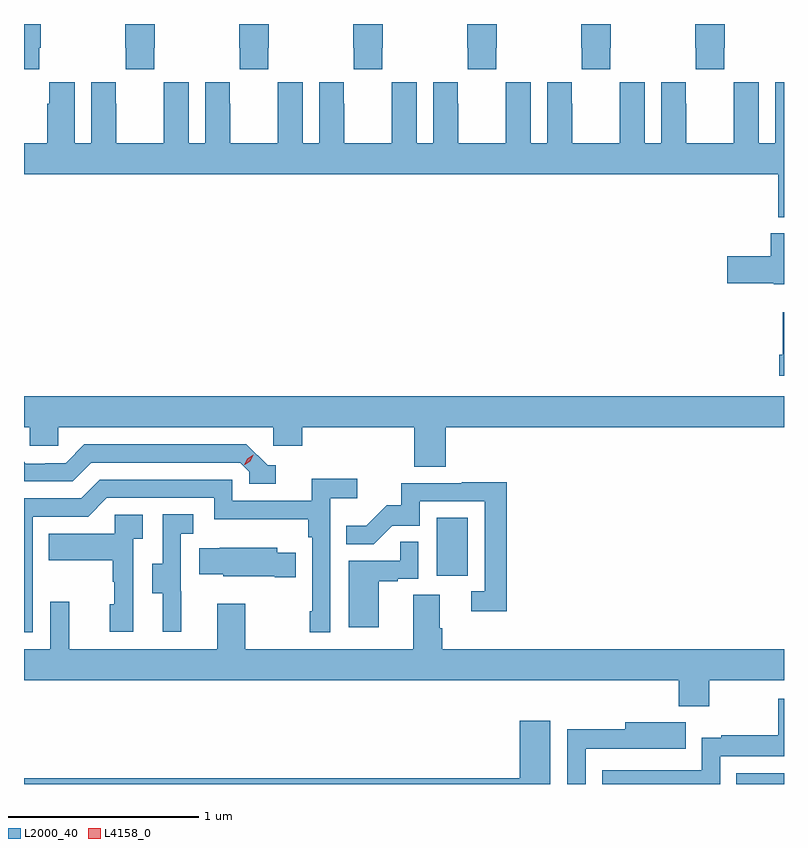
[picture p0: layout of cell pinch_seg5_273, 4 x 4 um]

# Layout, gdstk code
import gdstk
lib = gdstk.Library(unit=1e-6, precision=1e-09)
def R(c, l, rs):  # rectangles x0, y0, x1, y1
    for r in rs: c.add(gdstk.rectangle(r[:2], r[2:], *l))
def P(c, l, *ps):  # polygons
    for p in ps: c.add(gdstk.Polygon(p, *l))
L2000_40 = (2000, 40)
L4158_0 = (4158, 0)

pinch_seg5_273 = lib.new_cell('pinch_seg5_273')
R(pinch_seg5_273, L2000_40, [(892.657,904.167,892.908,904.224), (891.08,905.262,891.244,905.569)])
P(pinch_seg5_273, L2000_40, [(891.241,908.041),(891.243,908.041),(891.243,907.929),(891.393,907.929),(891.393,908.041),(891.396,908.041),(891.396,908.167),(891.241,908.167)],
  [(891.993,908.041),(891.996,908.041),(891.996,908.167),(891.841,908.167),(891.841,908.041),(891.843,908.041),(891.843,907.929),(891.993,907.929)],
  [(890.793,908.041),(890.796,908.041),(890.796,908.167),(890.641,908.167),(890.641,908.041),(890.643,908.041),(890.643,907.929),(890.793,907.929)],
  [(890.193,908.041),(890.196,908.041),(890.196,908.167),(890.041,908.167),(890.041,908.041),(890.043,908.041),(890.043,907.929),(890.193,907.929)],
  [(889.593,908.041),(889.596,908.041),(889.596,908.167),(889.441,908.167),(889.441,908.041),(889.443,908.041),(889.443,907.929),(889.593,907.929)],
  [(888.989,908.041),(888.996,908.041),(888.996,908.167),(888.908,908.167),(888.908,907.929),(888.989,907.929)],
  [(892.593,908.041),(892.596,908.041),(892.596,908.167),(892.441,908.167),(892.441,908.041),(892.443,908.041),(892.443,907.929),(892.593,907.929)],
  [(892.044,907.861),(892.044,907.748),(892.043,907.748),(892.043,907.54),(891.793,907.54),(891.793,907.748),(891.792,907.748),(891.792,907.861),(891.662,907.861),(891.662,907.54),(891.574,907.54),(891.574,907.861),(891.444,907.861),(891.444,907.748),(891.443,907.748),(891.443,907.54),(891.193,907.54),(891.193,907.748),(891.192,907.748),(891.192,907.861),(891.062,907.861),(891.062,907.54),(890.974,907.54),(890.974,907.861),(890.844,907.861),(890.844,907.748),(890.843,907.748),(890.843,907.54),(890.593,907.54),(890.593,907.748),(890.592,907.748),(890.592,907.861),(890.462,907.861),(890.462,907.54),(890.374,907.54),(890.374,907.861),(890.244,907.861),(890.244,907.748),(890.243,907.748),(890.243,907.54),(889.993,907.54),(889.993,907.748),(889.992,907.748),(889.992,907.861),(889.862,907.861),(889.862,907.54),(889.774,907.54),(889.774,907.861),(889.644,907.861),(889.644,907.748),(889.643,907.748),(889.643,907.54),(889.393,907.54),(889.393,907.748),(889.392,907.748),(889.392,907.861),(889.262,907.861),(889.262,907.54),(889.174,907.54),(889.174,907.861),(889.04,907.861),(889.04,907.748),(889.031,907.748),(889.031,907.54),(888.908,907.54),(888.908,907.376),(892.879,907.376),(892.879,907.151),(892.908,907.151),(892.908,907.861),(892.862,907.861),(892.862,907.54),(892.774,907.54),(892.774,907.861),(892.644,907.861),(892.644,907.748),(892.643,907.748),(892.643,907.54),(892.393,907.54),(892.393,907.748),(892.392,907.748),(892.392,907.861),(892.262,907.861),(892.262,907.54),(892.174,907.54),(892.174,907.861)],
  [(892.908,907.066),(892.838,907.066),(892.838,906.945),(892.608,906.945),(892.608,906.803),(892.854,906.803),(892.854,906.797),(892.908,906.797)],
  [(892.908,906.649),(892.902,906.649),(892.902,906.427),(892.882,906.427),(892.882,906.315),(892.908,906.315)],
  [(891.128,906.044),(892.908,906.044),(892.908,906.208),(888.908,906.208),(888.908,906.044),(888.939,906.044),(888.939,905.946),(889.089,905.946),(889.089,906.044),(890.22,906.044),(890.22,905.946),(890.372,905.946),(890.372,906.044),(890.963,906.044),(890.963,905.836),(891.128,905.836)],
  [(890.233,905.844),(890.19,905.844),(890.079,905.955),(889.226,905.955),(889.127,905.856),(889.02,905.856),(889.02,905.853),(888.917,905.853),(888.908,905.862),(888.908,905.76),(889.164,905.76),(889.263,905.859),(890.046,905.859),(890.094,905.811),(890.094,905.748),(890.233,905.748)],
  [(888.954,905.574),(889.245,905.574),(889.344,905.673),(889.908,905.673),(889.908,905.561),(890.404,905.561),(890.404,905.465),(890.424,905.465),(890.424,905.077),(890.412,905.077),(890.412,904.965),(890.52,904.965),(890.52,905.672),(890.662,905.672),(890.662,905.774),(890.423,905.774),(890.423,905.658),(890.004,905.658),(890.004,905.769),(889.307,905.769),(889.208,905.67),(888.908,905.67),(888.908,904.965),(888.954,904.965)],
  [(891.449,905.756),(891.211,905.756),(891.211,905.751),(890.893,905.751),(890.893,905.634),(890.816,905.634),(890.709,905.527),(890.605,905.527),(890.605,905.428),(890.749,905.428),(890.847,905.526),(890.991,905.526),(890.991,905.655),(891.333,905.655),(891.333,905.181),(891.261,905.181),(891.261,905.076),(891.449,905.076)],
  [(889.736,905.181),(889.734,905.181),(889.734,905.485),(889.798,905.485),(889.798,905.588),(889.638,905.588),(889.638,905.325),(889.583,905.325),(889.583,905.17),(889.637,905.17),(889.637,904.968),(889.736,904.968)],
  [(889.482,905.459),(889.534,905.459),(889.534,905.583),(889.386,905.583),(889.386,905.485),(889.039,905.485),(889.039,905.345),(889.374,905.345),(889.374,905.231),(889.384,905.231),(889.384,905.112),(889.358,905.112),(889.358,904.968),(889.482,904.968)],
  [(890.776,905.235),(890.876,905.235),(890.876,905.247),(890.982,905.247),(890.982,905.441),(890.887,905.441),(890.887,905.343),(890.618,905.343),(890.618,904.992),(890.776,904.992)],
  [(890.339,905.383),(890.241,905.383),(890.241,905.41),(889.939,905.41),(889.939,905.407),(889.831,905.407),(889.831,905.27),(889.956,905.27),(889.956,905.261),(890.228,905.261),(890.228,905.254),(890.339,905.254)],
  [(892.515,904.712),(892.908,904.712),(892.908,904.876),(891.11,904.876),(891.11,904.988),(891.097,904.988),(891.097,905.162),(890.957,905.162),(890.957,904.876),(890.073,904.876),(890.073,905.116),(889.925,905.116),(889.925,904.876),(889.145,904.876),(889.145,905.125),(889.047,905.125),(889.047,904.876),(888.908,904.876),(888.908,904.712),(892.355,904.712),(892.355,904.577),(892.515,904.577)],
  [(892.572,904.314),(892.908,904.314),(892.908,904.617),(892.878,904.617),(892.878,904.423),(892.579,904.423),(892.579,904.411),(892.476,904.411),(892.476,904.239),(891.951,904.239),(891.951,904.167),(892.572,904.167)],
  [(891.679,904.501),(891.518,904.501),(891.518,904.196),(888.908,904.196),(888.908,904.167),(891.679,904.167)],
  [(891.864,904.353),(892.177,904.353),(892.177,904.352),(892.391,904.352),(892.391,904.492),(892.073,904.492),(892.073,904.454),(891.768,904.454),(891.768,904.167),(891.864,904.167)])
P(pinch_seg5_273, L4158_0, [(890.068,905.846),(890.068,905.847),(890.084,905.879),(890.114,905.899),(890.115,905.899),(890.115,905.899),(890.099,905.866),(890.069,905.846)])

lib.write_gds('pinch_seg5_273.gds')
